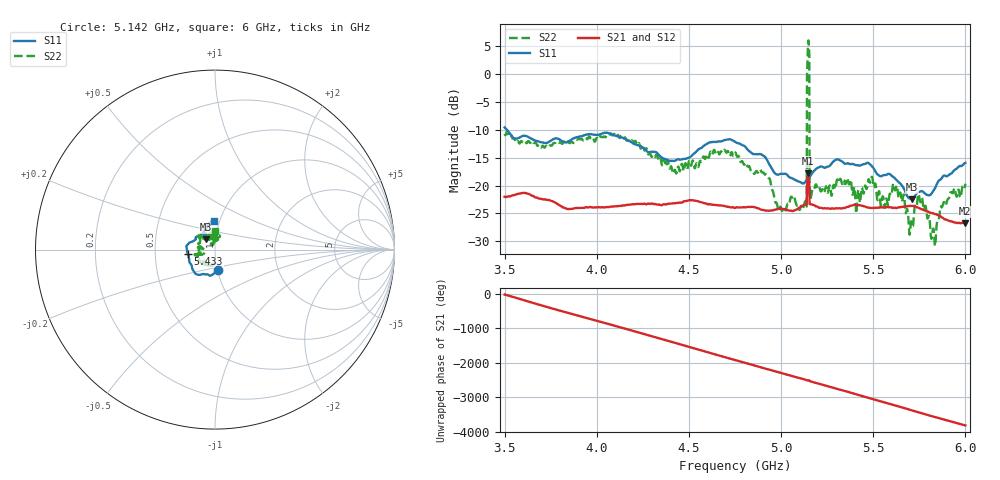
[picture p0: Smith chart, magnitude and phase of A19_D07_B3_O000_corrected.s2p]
! Created with skrf 1.9.0 (http://scikit-rf.org).
# Hz S RI R 50.0
!freq ReS11 ImS11 ReS21 ImS21 ReS12 ImS12 ReS22 ImS22
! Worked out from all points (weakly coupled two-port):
!   1601 points, 3.5 GHz to 6 GHz, reference 50 ohm
!   highest |S21| = -17.79 dB at 5.147 GHz (marker M1); lowest = -26.8 dB at 5.997 GHz (marker M2)
!   lowest |S11| = -22.4 dB at 5.709 GHz (marker M3), VSWR 1.16, Z = 45 + j5.21 ohm
!   |S11| at or under -10 dB: 3.513 GHz to end of sweep
!   |S22| runs from -30.9 to 6.1 dB; largest |S21 - S12| = 0.0012
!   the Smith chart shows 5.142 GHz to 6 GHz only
!   S11 on the Smith chart (normalised r, x): 5.142 GHz: 1.00, -0.23; 5.433 GHz: 0.74, -0.04; 6 GHz: 0.94, +0.31
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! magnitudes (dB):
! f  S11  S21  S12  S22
! 3.5 GHz  -9.6  -22.0  -22.0  -10.7
! 3.917 GHz  -11.1  -24.0  -24.0  -11.6
! 4.334 GHz  -14.4  -23.4  -23.4  -15.3
! 4.75 GHz  -12.1  -24.0  -23.9  -14.1
! 4.928 GHz  -15.7  -24.5  -24.5  -18.6
! 4.994 GHz  -17.9  -24.2  -24.1  -24.0
! 5.109 GHz  -19.4  -23.7  -23.7  -23.7
! 5.127 GHz  -19.5  -23.5  -23.5  -23.2
! 5.142 GHz  -18.9  -19.5  -19.5  1.3
! 5.147 GHz  -18.7  -17.8  -17.8  5.7
! 5.153 GHz  -18.5  -20.0  -20.0  3.5
! 5.167 GHz  -17.8  -23.4  -23.4  -21.1
! 5.433 GHz  -16.4  -23.6  -23.6  -21.6
! 5.486 GHz  -16.3  -24.0  -24.0  -19.2
! 5.584 GHz  -17.9  -23.9  -23.9  -22.6
! 5.619 GHz  -18.7  -24.0  -24.0  -20.9
! 5.709 GHz  -22.4  -23.6  -23.6  -26.6
! 5.755 GHz  -21.1  -24.1  -24.1  -22.8
! 5.827 GHz  -20.9  -25.0  -25.0  -27.7
! 5.875 GHz  -18.5  -25.7  -25.7  -23.7
! 5.997 GHz  -16.0  -26.8  -26.7  -20.2
! 6 GHz  -15.9  -26.7  -26.7  -19.7
